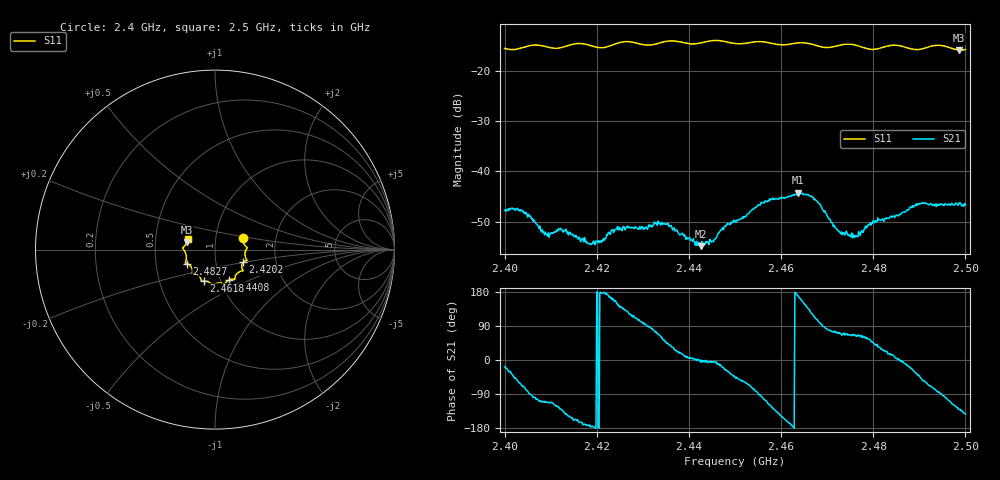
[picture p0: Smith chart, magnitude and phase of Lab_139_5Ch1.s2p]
# Hz S RI R 50
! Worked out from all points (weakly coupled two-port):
!   601 points, 2.4 GHz to 2.5 GHz, reference 50 ohm
!   highest |S21| = -44.27 dB at 2.4637 GHz (marker M1); lowest = -54.9 dB at 2.4427 GHz (marker M2)
!   lowest |S11| = -15.8 dB at 2.4987 GHz (marker M3), VSWR 1.39, Z = 36.4 + j3.16 ohm
!   |S11| at or under -10 dB: start of sweep to end of sweep
!   S12 and S22 are empty: the file has one direction only
!   S11 on the Smith chart (normalised r, x): 2.4 GHz: 1.36, +0.17; 2.4202 GHz: 1.36, -0.20; 2.4408 GHz: 1.10, -0.39; 2.4618 GHz: 0.84, -0.30; 2.4827 GHz: 0.72, -0.12; 2.5 GHz: 0.73, +0.09
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2.4e9  0.1562 0.0619  0.00391 -0.00125  0 0  0 0
2.404167e9  0.1716 0.018  0.00126 -0.00362  0 0  0 0
2.409167e9  0.1742 0.00134  -0.000821 -0.00219  0 0  0 0
2.412e9  0.1674 -0.0299  -0.00167 -0.00204  0 0  0 0
2.416667e9  0.1782 -0.0594  -0.00204 -0.000566  0 0  0 0
2.420167e9  0.1567 -0.0704  -0.00198 3.94e-05  0 0  0 0
2.424333e9  0.153 -0.1099  -0.0023 0.00141  0 0  0 0
2.433333e9  0.1118 -0.152  0.00116 0.00298  0 0  0 0
2.440833e9  0.0789 -0.1689  0.00201 9.95e-05  0 0  0 0
2.442667e9  0.0626 -0.1804  0.0018 -1.38e-06  0 0  0 0
2.45e9  0.0278 -0.1857  0.00228 -0.00225  0 0  0 0
2.456167e9  -0.0149 -0.1947  -0.00103 -0.00481  0 0  0 0
2.461833e9  -0.0602 -0.175  -0.00547 -0.00134  0 0  0 0
2.463667e9  -0.0722 -0.1766  -0.00602 0.00108  0 0  0 0
2.466667e9  -0.0769 -0.1684  -0.00304 0.00466  0 0  0 0
2.473333e9  -0.1231 -0.1352  0.00088 0.00217  0 0  0 0
2.476167e9  -0.1262 -0.1303  0.000974 0.002  0 0  0 0
2.482667e9  -0.1573 -0.0778  0.00316 0.00125  0 0  0 0
2.483333e9  -0.1613 -0.0762  0.00324 0.001  0 0  0 0
2.490333e9  -0.1642 -0.0184  0.00321 -0.00357  0 0  0 0
2.498667e9  -0.1559 0.0423  -0.00314 -0.00371  0 0  0 0
2.5e9  -0.1519 0.0617  -0.00363 -0.00286  0 0  0 0
